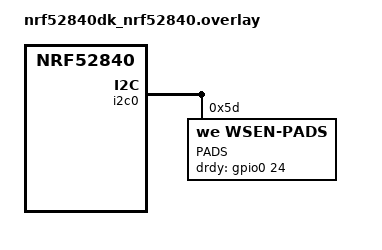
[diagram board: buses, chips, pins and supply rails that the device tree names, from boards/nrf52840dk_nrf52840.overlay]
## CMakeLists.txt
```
# Copyright (c) 2022 Würth Elektronik eiSos GmbH & Co. KG
# SPDX-License-Identifier: Apache-2.0

cmake_minimum_required(VERSION 3.20.0)
find_package(Zephyr REQUIRED HINTS $ENV{ZEPHYR_BASE})
project(wsen_pads)

FILE(GLOB app_sources src/*.c)
target_sources(app PRIVATE ${app_sources})
```

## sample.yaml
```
sample:
  name: WSEN-PADS Sensor Sample
tests:
  sample.sensor.wsen-pads:
    harness: sensor
    tags: sensors
    depends_on: i2c pads
    filter: dt_compat_enabled("we,wsen-pads")
```

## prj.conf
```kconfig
###### Basic configuration required for using sensors ######
CONFIG_I2C=y
# CONFIG_SPI=y
CONFIG_SENSOR=y

###### Configuration of WSEN-PADS ######
CONFIG_PADS=y
CONFIG_PADS_TRIGGER_NONE=y
# CONFIG_PADS_ODR=100
# CONFIG_PADS_TRIGGER_GLOBAL_THREAD=y
# CONFIG_PADS_TRIGGER_OWN_THREAD=y

###### Log config ######
CONFIG_STDOUT_CONSOLE=y
CONFIG_LOG=y
# The following two parameters are required to enable float log support
CONFIG_CBPRINTF_FP_SUPPORT=y
CONFIG_LOG_MODE_DEFERRED=y
```

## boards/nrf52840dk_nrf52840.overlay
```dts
/*
 * Copyright (c) 2022 Würth Elektronik eiSos GmbH & Co. KG
 *
 * SPDX-License-Identifier: Apache-2.0
 */

&i2c0 {
	pads@5d {
		compatible = "we,wsen-pads";
		reg = <0x5d>;
		label = "PADS";
		drdy-gpios = <&gpio0 24 GPIO_ACTIVE_HIGH>;
	};
};

// &spi1 {
// 	cs-gpios = <&gpio0 25 GPIO_ACTIVE_LOW>;

// 	itds@0 {
// 		compatible = "we,wsen-pads";
// 		reg = <0x0>;
// 		spi-max-frequency = <8000000>;
// 		label = "PADS";
// 		drdy-gpios = <&gpio0 24 GPIO_ACTIVE_HIGH>;
// 	};
// };
```

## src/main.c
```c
/*
 * Copyright (c) 2022 Würth Elektronik eiSos GmbH & Co. KG
 *
 * SPDX-License-Identifier: Apache-2.0
 */

#include <zephyr/device.h>
#include <zephyr/drivers/sensor.h>
#include <zephyr/logging/log.h>
#include <zephyr/zephyr.h>

LOG_MODULE_REGISTER(MAIN);

static void process_sample(const struct device *dev)
{
	static unsigned int sample_count;
	struct sensor_value pressure, temperature;

	if (sensor_sample_fetch(dev) < 0) {
		LOG_ERR("Failed to fetch PADS sensor sample.");
		return;
	}

	if (sensor_channel_get(dev, SENSOR_CHAN_PRESS, &pressure) < 0) {
		LOG_ERR("Failed to read PADS pressure channel.");
		return;
	}

	if (sensor_channel_get(dev, SENSOR_CHAN_AMBIENT_TEMP, &temperature) < 0) {
		LOG_ERR("Failed to read PADS temperature channel.");
		return;
	}

	++sample_count;
	LOG_INF("Sample #%u", sample_count);

	/* Display pressure */
	LOG_INF("Pressure: %.4f kPa", sensor_value_to_double(&pressure));

	/* Display temperature */
	LOG_INF("Temperature: %.1f C", sensor_value_to_double(&temperature));
}

static void pads_drdy_interrupt_handler(const struct device *dev, const struct sensor_trigger *trig)
{
	/* Note: Pressure must be read to reset the interrupt signal */
	process_sample(dev);
}

void main(void)
{
	const struct device *dev = device_get_binding("PADS");

	if (dev == NULL) {
		LOG_ERR("Failed to get PADS device.");
		return;
	}

	LOG_INF("PADS device initialized.");

	if (IS_ENABLED(CONFIG_PADS_TRIGGER)) {
		struct sensor_trigger trig = {
			.type = SENSOR_TRIG_DATA_READY,
			.chan = SENSOR_CHAN_ALL,
		};
		if (sensor_trigger_set(dev, &trig, pads_drdy_interrupt_handler) < 0) {
			LOG_ERR("Failed to configure trigger.");
			return;
		}
	}

	while (!IS_ENABLED(CONFIG_PADS_TRIGGER)) {
		process_sample(dev);
		k_sleep(K_MSEC(2000));
	}

	k_sleep(K_FOREVER);
}
```
